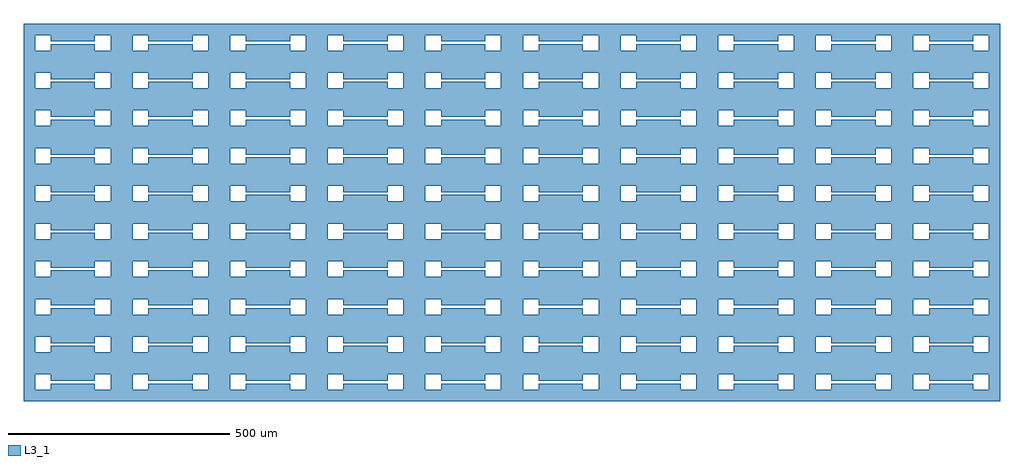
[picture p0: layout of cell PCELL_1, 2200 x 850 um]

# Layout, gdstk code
import gdstk
lib = gdstk.Library(unit=1e-6, precision=5e-09)
def P(c, l, *ps):  # polygons
    for p in ps: c.add(gdstk.Polygon(p, *l))
L3_1 = (3, 1)

structure_1 = lib.new_cell('STRUCTURE_1')
P(structure_1, L3_1, [(-85,17.5),(-50,17.5),(-50,3),(50,3),(50,17.5),(85,17.5),(85,-17.5),(50,-17.5),(50,-3),(-50,-3),(-50,-17.5),(-85,-17.5),(-85,17.5),(-110,42.5),(-110,-42.5),(110,-42.5),(110,42.5),(-110,42.5)])

dumbell_neg_2 = lib.new_cell('dumbell_Neg_2')
dumbell_neg_2.add(gdstk.Reference(structure_1, (0,0)))

pcell_1 = lib.new_cell('PCELL_1')
r = gdstk.Reference(dumbell_neg_2, (0,0)); r.repetition = gdstk.Repetition(10, 10, v1=(220,0), v2=(0,85)); pcell_1.add(r)

lib.write_gds('PCELL_1.gds')
